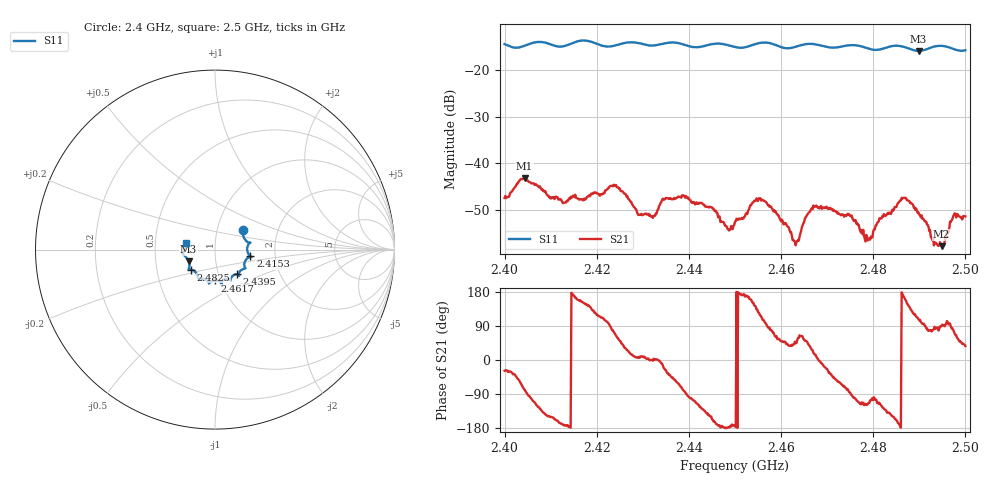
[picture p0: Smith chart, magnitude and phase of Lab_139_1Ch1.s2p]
# Hz S RI R 50
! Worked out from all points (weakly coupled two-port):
!   601 points, 2.4 GHz to 2.5 GHz, reference 50 ohm
!   highest |S21| = -43.22 dB at 2.4043 GHz (marker M1); lowest = -57.9 dB at 2.4948 GHz (marker M2)
!   lowest |S11| = -15.9 dB at 2.4898 GHz (marker M3), VSWR 1.38, Z = 36.9 - j4.91 ohm
!   |S11| at or under -10 dB: start of sweep to end of sweep
!   S12 and S22 are empty: the file has one direction only
!   S11 on the Smith chart (normalised r, x): 2.4 GHz: 1.33, +0.30; 2.4153 GHz: 1.49, -0.12; 2.4395 GHz: 1.23, -0.35; 2.4617 GHz: 0.94, -0.33; 2.4825 GHz: 0.75, -0.17; 2.5 GHz: 0.72, +0.05
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2.4e9  0.1559 0.1095  0.00371 -0.002  0 0  0 0
2.404333e9  0.1774 0.045  0.00141 -0.00676  0 0  0 0
2.415333e9  0.1972 -0.0375  -0.00439 0.00125  0 0  0 0
2.416667e9  0.2039 -0.0421  -0.00366 0.00181  0 0  0 0
2.423667e9  0.163 -0.0827  0.00158 0.00563  0 0  0 0
2.429333e9  0.1628 -0.1064  0.00277 0.000291  0 0  0 0
2.433333e9  0.1327 -0.1328  0.00317 -2.51e-05  0 0  0 0
2.4395e9  0.1227 -0.1375  -4.95e-06 -0.00427  0 0  0 0
2.45e9  0.0668 -0.1645  -0.00233 -0.000241  0 0  0 0
2.455667e9  0.0373 -0.1935  -0.0017 0.00357  0 0  0 0
2.461667e9  0.000539 -0.1721  0.0016 0.00124  0 0  0 0
2.4635e9  -0.0227 -0.1793  0.000878 0.00114  0 0  0 0
2.466667e9  -0.034 -0.1886  0.00292 0.0015  0 0  0 0
2.474833e9  -0.0908 -0.1616  0.000244 -0.00278  0 0  0 0
2.478833e9  -0.1007 -0.1386  -0.000631 -0.00133  0 0  0 0
2.4825e9  -0.1322 -0.111  -0.00178 -0.00206  0 0  0 0
2.483333e9  -0.1396 -0.1103  -0.00214 -0.00185  0 0  0 0
2.486667e9  -0.1449 -0.1033  -0.0041 0.00103  0 0  0 0
2.489833e9  -0.1474 -0.0649  -0.000884 0.00281  0 0  0 0
2.494833e9  -0.1811 -0.0216  -1.83e-05 0.00128  0 0  0 0
2.497333e9  -0.1693 -0.00626  0.000457 0.00263  0 0  0 0
2.5e9  -0.1599 0.0352  0.00214 0.0016  0 0  0 0
